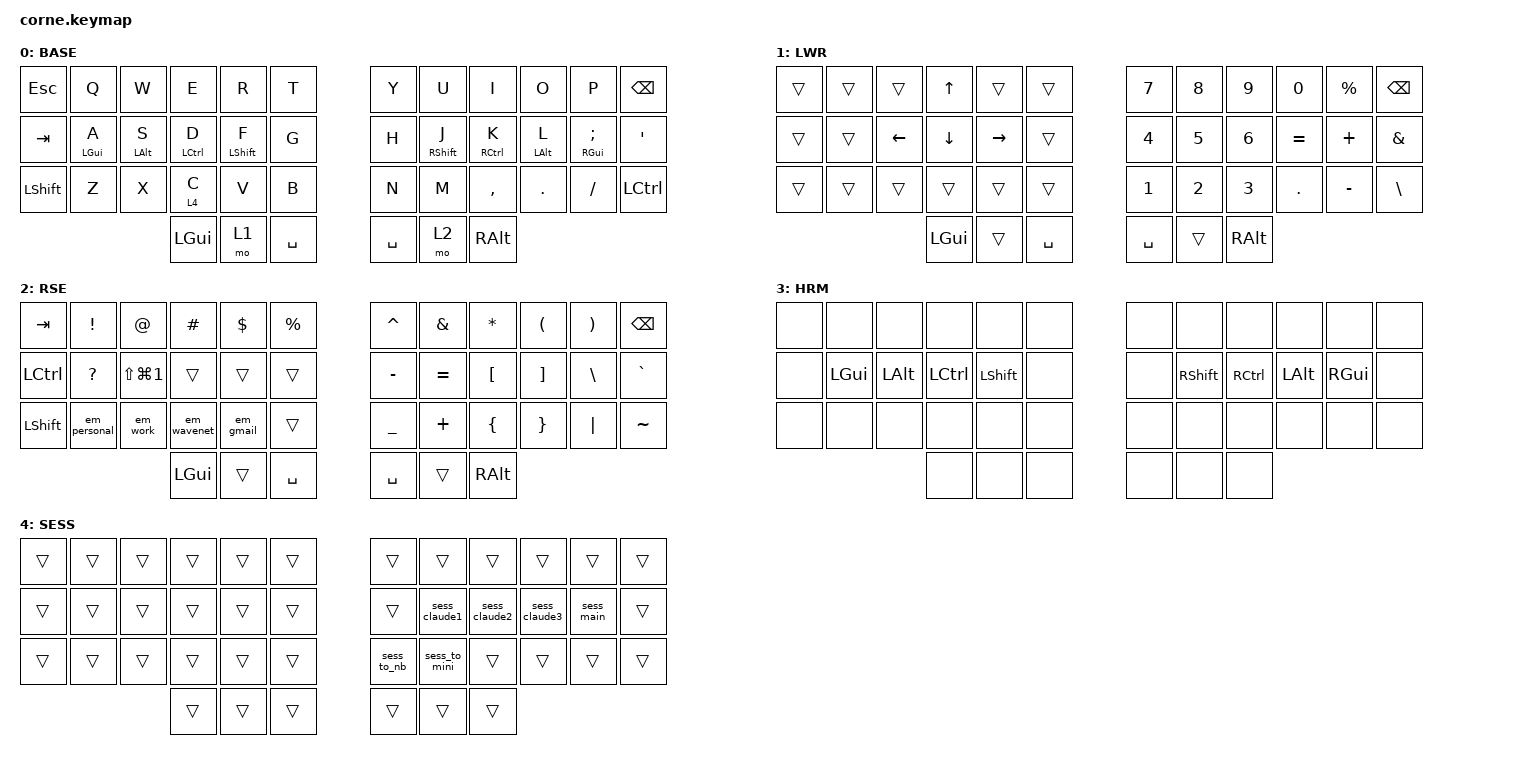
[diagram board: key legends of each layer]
/*
 * Copyright (c) 2020 The ZMK Contributors
 *
 * SPDX-License-Identifier: MIT
 */

#include <behaviors.dtsi>
#include <dt-bindings/zmk/keys.h>
#include <dt-bindings/zmk/bt.h>

// Corne key-position map (3x6+3 per side):
//
//   0  1  2  3  4  5        6  7  8  9 10 11
//  12 13 14 15 16 17       18 19 20 21 22 23
//  24 25 26 27 28 29       30 31 32 33 34 35
//           36 37 38       39 40 41

/ {
        behaviors {
                // Home-row mods, left hand.
                // 2026-08-31 "old-board feel": the bilateral
                // hold-trigger-key-positions restriction is REMOVED (a same-hand
                // shift now works — hold F, tap a left-hand letter capitalises it
                // instead of typing "f"), and require-prior-idle-ms is dropped
                // 250 -> 100 so mid-flow capitals are no longer swallowed.
                // hold-trigger-on-release is kept but is inert with no
                // hold-trigger-key-positions (ZMK v0.3 decide_positional_hold()
                // returns early when the position list is empty).
                hml: home_row_mod_left {
                        compatible = "zmk,behavior-hold-tap";
                        #binding-cells = <2>;
                        tapping-term-ms = <280>;
                        quick-tap-ms = <175>;
                        require-prior-idle-ms = <100>;
                        flavor = "balanced";
                        hold-trigger-on-release;
                        bindings = <&kp>, <&kp>;
                };

                // Home-row mods, right hand. Same tuning as hml.
                hmr: home_row_mod_right {
                        compatible = "zmk,behavior-hold-tap";
                        #binding-cells = <2>;
                        tapping-term-ms = <280>;
                        quick-tap-ms = <175>;
                        require-prior-idle-ms = <100>;
                        flavor = "balanced";
                        hold-trigger-on-release;
                        bindings = <&kp>, <&kp>;
                };

                // Session layer tap: tap = the letter, hold = momentary SESS
                // layer (tmux window / machine switching). Mirrors the HRM
                // tuning so it feels identical under the fingers.
                lts: layer_tap_sess {
                        compatible = "zmk,behavior-hold-tap";
                        #binding-cells = <2>;
                        tapping-term-ms = <280>;
                        quick-tap-ms = <175>;
                        require-prior-idle-ms = <100>;
                        flavor = "balanced";
                        bindings = <&mo>, <&kp>;
                };
        };

        combos {
                compatible = "zmk,combos";

                // Both inner thumb keys pressed within 100ms = ENTER.
                // Each thumb alone is just SPACE.
                combo_enter {
                        timeout-ms = <100>;
                        key-positions = <38 39>;
                        bindings = <&kp RET>;
                };
        };

        macros {
                em_personal: em_personal {
                        // types: danny@dannymiles.co.uk
                        compatible = "zmk,behavior-macro";
                        #binding-cells = <0>;
                        wait-ms = <5>;
                        tap-ms = <5>;
                        bindings
                                = <&kp D &kp A &kp N &kp N &kp Y>
                                , <&kp LS(N2)>
                                , <&kp D &kp A &kp N &kp N &kp Y &kp M &kp I &kp L &kp E &kp S>
                                , <&kp DOT &kp C &kp O &kp DOT &kp U &kp K>
                                ;
                };

                em_work: em_work {
                        // types: daniel.miles@cg-tech.co.uk
                        compatible = "zmk,behavior-macro";
                        #binding-cells = <0>;
                        wait-ms = <5>;
                        tap-ms = <5>;
                        bindings
                                = <&kp D &kp A &kp N &kp I &kp E &kp L &kp DOT>
                                , <&kp M &kp I &kp L &kp E &kp S>
                                , <&kp LS(N2)>
                                , <&kp C &kp G &kp MINUS &kp T &kp E &kp C &kp H>
                                , <&kp DOT &kp C &kp O &kp DOT &kp U &kp K>
                                ;
                };

                em_gmail: em_gmail {
                        // types: milezey40@gmail.com
                        compatible = "zmk,behavior-macro";
                        #binding-cells = <0>;
                        wait-ms = <5>;
                        tap-ms = <5>;
                        bindings
                                = <&kp M &kp I &kp L &kp E &kp Z &kp E &kp Y &kp N4 &kp N0>
                                , <&kp LS(N2)>
                                , <&kp G &kp M &kp A &kp I &kp L &kp DOT &kp C &kp O &kp M>
                                ;
                };

                em_wavenet: em_wavenet {
                        // types: danny.miles@wavenet.co.uk
                        compatible = "zmk,behavior-macro";
                        #binding-cells = <0>;
                        wait-ms = <5>;
                        tap-ms = <5>;
                        bindings
                                = <&kp D &kp A &kp N &kp N &kp Y &kp DOT>
                                , <&kp M &kp I &kp L &kp E &kp S>
                                , <&kp LS(N2)>
                                , <&kp W &kp A &kp V &kp E &kp N &kp E &kp T>
                                , <&kp DOT &kp C &kp O &kp DOT &kp U &kp K>
                                ;
                };

                // --- SESS layer macros ---------------------------------------
                // tmux window switching: send the prefix (Ctrl+B) then a digit,
                // spaced 30ms apart so tmux sees two sequential presses.
                // 0 = main, 1/2/3 = the claude windows.

                sess_claude1: sess_claude1 {
                        // tmux: prefix + 1  -> claude1
                        compatible = "zmk,behavior-macro";
                        #binding-cells = <0>;
                        wait-ms = <30>;
                        tap-ms = <30>;
                        bindings = <&kp LC(B)>, <&kp N1>;
                };

                sess_claude2: sess_claude2 {
                        // tmux: prefix + 2  -> claude2
                        compatible = "zmk,behavior-macro";
                        #binding-cells = <0>;
                        wait-ms = <30>;
                        tap-ms = <30>;
                        bindings = <&kp LC(B)>, <&kp N2>;
                };

                sess_claude3: sess_claude3 {
                        // tmux: prefix + 3  -> claude3
                        compatible = "zmk,behavior-macro";
                        #binding-cells = <0>;
                        wait-ms = <30>;
                        tap-ms = <30>;
                        bindings = <&kp LC(B)>, <&kp N3>;
                };

                sess_main: sess_main {
                        // tmux: prefix + 0  -> main
                        compatible = "zmk,behavior-macro";
                        #binding-cells = <0>;
                        wait-ms = <30>;
                        tap-ms = <30>;
                        bindings = <&kp LC(B)>, <&kp N0>;
                };

                sess_to_mini: sess_to_mini {
                        // 2026-11-22: after the hop, tap F20 - it lands ONLY on the
                        // destination Mac, where trackpad-follow sees a Corne
                        // keypress and pulls the Magic Trackpad over at once
                        // (F20 is unbound everywhere and inert on macOS).
                        // Machine switch, destination Mac MINI (M = mini):
                        // tap Ctrl+Alt+Cmd+M (the hotkey skhd binds to the
                        // switch script on the active Mac -> monitor + mouse
                        // move over), pause 200ms, then jump the keyboard to
                        // BLE profile 0 (mini). Deterministic destination -
                        // no blind profile cycling.
                        compatible = "zmk,behavior-macro";
                        #binding-cells = <0>;
                        wait-ms = <30>;
                        tap-ms = <30>;
                        bindings
                                = <&kp LC(LA(LG(M)))>
                                , <&macro_wait_time 200>
                                , <&bt BT_SEL 0>
                                , <&macro_wait_time 300>
                                , <&kp F20>
                                ;
                };

                sess_to_nb: sess_to_nb {
                        // Machine switch, destination the NOTEBOOK (N):
                        // currently the MacBook Air, later the Neo - whichever
                        // laptop holds BLE profile 1. Sends its OWN hotkey
                        // Ctrl+Alt+Cmd+N (2026-09-04 fix: the old shared M
                        // hotkey made the host side RELATIVE - "push the desk
                        // away from whoever receives it" - so a press landing
                        // on the destination Mac moved mouse + monitor the
                        // wrong way while the keyboard hopped correctly. With
                        // distinct hotkeys skhd maps M -> desk-to-mini.sh and
                        // N -> desk-to-air.sh on BOTH Macs: absolute, not a
                        // toggle), then jump to profile 1.
                        compatible = "zmk,behavior-macro";
                        #binding-cells = <0>;
                        wait-ms = <30>;
                        tap-ms = <30>;
                        bindings
                                = <&kp LC(LA(LG(N)))>
                                , <&macro_wait_time 200>
                                , <&bt BT_SEL 1>
                                , <&macro_wait_time 300>
                                , <&kp F20>
                                ;
                };
        };

        keymap {
                compatible = "zmk,keymap";

                // GACS home row mods (Mac):
                //   A=Cmd  S=Opt  D=Ctrl  F=Shift   J=Shift  K=Ctrl  L=Opt  ;=Cmd
                default_layer {
                        display-name = "BASE";
                        bindings = <
   &kp ESC   &kp Q       &kp W       &kp E         &kp R         &kp T       &kp Y      &kp U         &kp I         &kp O       &kp P            &kp BSPC
   &kp TAB   &hml LGUI A &hml LALT S &hml LCTRL D  &hml LSHFT F  &kp G       &kp H      &hmr RSHFT J  &hmr RCTRL K  &hmr LALT L &hmr RGUI SEMI   &kp SQT
   &kp LSHFT &kp Z       &kp X       &lts 4 C      &kp V         &kp B       &kp N      &kp M         &kp COMMA     &kp DOT     &kp FSLH         &kp LCTRL
                                              &kp LGUI &mo 1 &kp SPACE   &kp SPACE &mo 2 &kp RALT
                        >;
                };

                lower_layer {
                        display-name = "LWR";
                        bindings = <
   &trans         &trans         &trans       &kp UP       &trans       &trans         &kp N7   &kp N8   &kp N9 &kp N0    &kp PRCNT &kp BSPC
   &trans         &trans         &kp LEFT     &kp DOWN     &kp RIGHT    &trans         &kp N4   &kp N5   &kp N6 &kp EQUAL &kp PLUS &kp AMPS
   &trans         &trans         &trans       &trans       &trans       &trans         &kp N1   &kp N2   &kp N3 &kp DOT   &kp MINUS &kp BSLH
                                              &kp LGUI &trans &kp SPACE   &kp SPACE &trans &kp RALT
                        >;
                };

                raise_layer {
                        display-name = "RSE";
                        bindings = <
   &kp TAB   &kp EXCL &kp AT &kp HASH &kp DLLR &kp PRCNT   &kp CARET &kp AMPS  &kp ASTRK &kp LPAR &kp RPAR &kp BSPC
   &kp LCTRL &kp QMARK /* =? */ &kp LS(LG(N1)) &trans &trans   &trans      &kp MINUS &kp EQUAL &kp LBKT  &kp RBKT &kp BSLH &kp GRAVE
   &kp LSHFT &em_personal &em_work &em_wavenet &em_gmail &trans      &kp UNDER &kp PLUS  &kp LBRC  &kp RBRC &kp PIPE &kp TILDE
                             &kp LGUI &trans &kp SPACE     &kp SPACE &trans &kp RALT
                        >;
                };

                // Reference-only layer (never activated by any key) — shows
                // the modifier each home-row key produces when held. Surfaces
                // in ZMK-keymap-viewer as a separate "HRM" tab.
                hrm_layer {
                        display-name = "HRM";
                        bindings = <
   &none &none           &none           &none            &none            &none  &none &none            &none            &none           &none            &none
   &none &kp LGUI /* =⌘ */ &kp LALT /* =⌥ */ &kp LCTRL /* =⌃ */ &kp LSHFT /* =⇧ */ &none  &none &kp RSHFT /* =⇧ */ &kp RCTRL /* =⌃ */ &kp LALT /* =⌥ */ &kp RGUI /* =⌘ */ &none
   &none &none           &none           &none            &none            &none  &none &none            &none            &none           &none            &none
                                                       &none &none &none      &none &none &none
                        >;
                };

                // Session layer (index 4) — momentary, held via C on the base
                // layer (&lts 4 C: tap = c, hold = SESS).
                //   J   -> tmux prefix + 1  (claude1)
                //   K   -> tmux prefix + 2  (claude2)
                //   L   -> tmux prefix + 3  (claude3)
                //   ;   -> tmux prefix + 0  (main)
                //   M   -> Ctrl+Alt+Cmd+M, then BLE profile 0 (desk -> Mac mini)
                //   N   -> Ctrl+Alt+Cmd+N, then BLE profile 1 (desk -> notebook)
                // Everything else is &trans, so a mis-held C still types normally.
                sess_layer {
                        display-name = "SESS";
                        bindings = <
   &trans &trans &trans &trans &trans &trans      &trans &trans        &trans        &trans        &trans      &trans
   &trans &trans &trans &trans &trans &trans      &trans &sess_claude1 &sess_claude2 &sess_claude3 &sess_main  &trans
   &trans &trans &trans &trans &trans &trans      &sess_to_nb &sess_to_mini &trans   &trans        &trans      &trans
                                 &trans &trans &trans      &trans &trans &trans
                        >;
                };
        };
};
